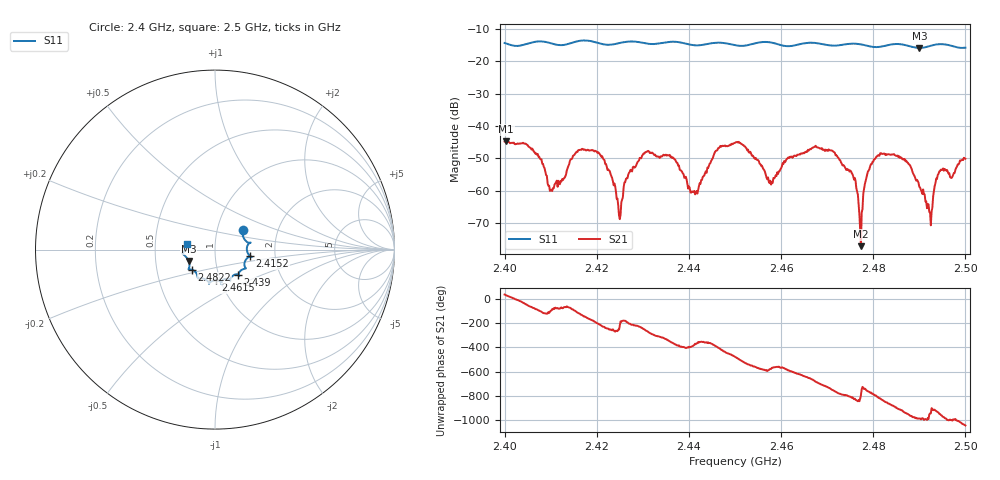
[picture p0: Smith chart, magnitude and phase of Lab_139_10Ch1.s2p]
# Hz S RI R 50
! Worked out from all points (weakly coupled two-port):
!   601 points, 2.4 GHz to 2.5 GHz, reference 50 ohm
!   highest |S21| = -44.81 dB at 2.4003 GHz (marker M1); lowest = -77.2 dB at 2.4773 GHz (marker M2)
!   lowest |S11| = -15.9 dB at 2.49 GHz (marker M3), VSWR 1.38, Z = 36.9 - j4.83 ohm
!   |S11| at or under -10 dB: start of sweep to end of sweep
!   S12 and S22 are empty: the file has one direction only
!   S11 on the Smith chart (normalised r, x): 2.4 GHz: 1.33, +0.31; 2.4152 GHz: 1.48, -0.11; 2.439 GHz: 1.24, -0.36; 2.4615 GHz: 0.95, -0.34; 2.4822 GHz: 0.76, -0.17; 2.5 GHz: 0.73, +0.05
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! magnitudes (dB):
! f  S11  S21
! 2.4 GHz  -14.4  -44.8
! 2.4003 GHz  -14.5  -44.8
! 2.4102 GHz  -14.5  -59.7
! 2.4152 GHz  -14.1  -48.9
! 2.4167 GHz  -13.6  -47.4
! 2.4212 GHz  -14.7  -49.4
! 2.425 GHz  -14.4  -68.8
! 2.4333 GHz  -14.5  -49.5
! 2.439 GHz  -14.5  -56.1
! 2.45 GHz  -15.0  -45.2
! 2.4577 GHz  -14.2  -56.9
! 2.4615 GHz  -15.4  -49.8
! 2.4667 GHz  -14.3  -46.9
! 2.4752 GHz  -14.6  -54.0
! 2.4773 GHz  -14.8  -77.2
! 2.479 GHz  -15.3  -53.8
! 2.4822 GHz  -15.4  -48.6
! 2.4833 GHz  -15.0  -48.7
! 2.49 GHz  -15.9  -58.9
! 2.4923 GHz  -15.3  -66.8
! 2.4945 GHz  -14.7  -54.0
! 2.5 GHz  -15.8  -50.2
